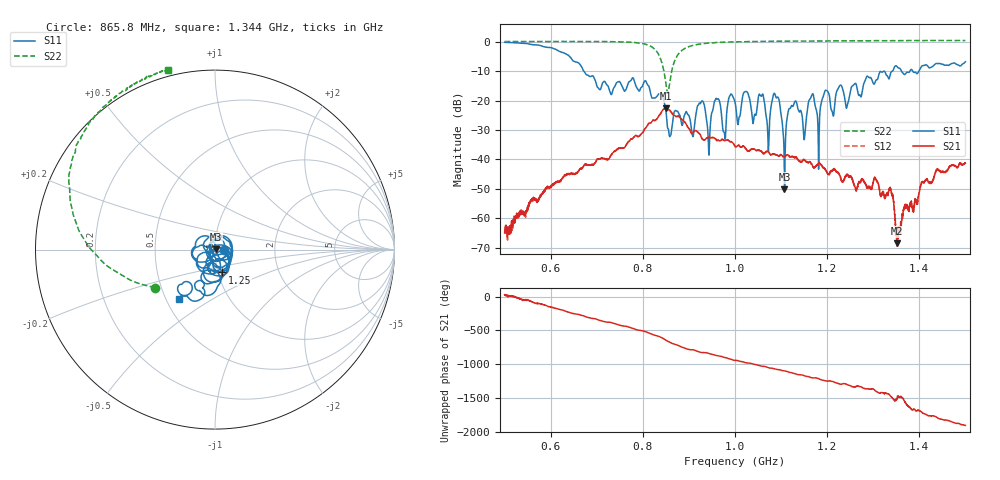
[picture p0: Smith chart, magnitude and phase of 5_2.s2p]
!Keysight Technologies,N5242B,MY48420860,A.13.80.08
!Date: Saturday, September 26, 2020 12:14:28
!Correction: S11(Full 2 Port(1,2))
!S21(Full 2 Port(1,2))
!S12(Full 2 Port(1,2))
!S22(Full 2 Port(1,2))
!S2P File: Measurements: S11, S21, S12, S22:
# Hz S  dB  R 50
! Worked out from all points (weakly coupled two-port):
!   2650 points, 500 MHz to 1.5 GHz, reference 50 ohm
!   highest |S21| = -22.67 dB at 849.9 MHz (marker M1); lowest = -68.4 dB at 1.352 GHz (marker M2)
!   lowest |S11| = -50.1 dB at 1.107 GHz (marker M3), VSWR 1.01, Z = 50.3 + j0.0626 ohm
!   |S11| at or under -10 dB: 671.8 MHz to 1.342 GHz (670 MHz wide, 66.5 % of centre); 1.361 GHz to 1.38 GHz (18.6 MHz wide, 1.36 % of centre); 1.386 GHz to 1.399 GHz (13.36 MHz wide, 0.96 % of centre)
!   |S22| runs from -17.5 to 0.4 dB; largest |S21 - S12| = 0.00043
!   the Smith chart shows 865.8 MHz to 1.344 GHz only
!   S11 on the Smith chart (normalised r, x): 865.8 MHz: 1.11, +0.00; 1.25 GHz: 1.04, -0.27; 1.344 GHz: 0.58, -0.36
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5e8  -0.23 -166.3  -64.97 28.6  -64.78 19.0  0.02 147.7
6.049453e8  -2.30 125.9  -48.56 -162.0  -48.56 -161.3  0.04 139.3
6.668554e8  -8.50 74.5  -43.11 82.4  -43.22 83.0  0.03 133.1
8.337108e8  -17.92 7.7  -25.49 133.9  -25.50 134.0  -4.21 64.4
8.499434e8  -23.24 -59.4  -22.67 76.6  -22.70 76.5  -14.17 0.5
8.657984e8  -25.88 0.5  -24.87 23.5  -24.91 23.4  -8.08 -147.6
1.000189e9  -20.64 -121.2  -35.57 137.8  -35.57 137.4  -0.11 136.1
1.057191e9  -18.57 -153.1  -37.23 53.2  -37.30 53.1  0.06 129.0
1.071536e9  -33.09 163.9  -37.26 32.4  -37.28 32.3  0.08 127.4
1.088901e9  -18.90 171.1  -38.34 7.6  -38.40 7.1  0.10 125.9
1.107399e9  -50.11 11.5  -38.83 -18.6  -38.88 -18.6  0.14 124.1
1.119479e9  -22.68 130.5  -39.08 -39.9  -39.05 -40.2  0.14 122.9
1.150812e9  -32.83 89.1  -40.06 -90.9  -40.16 -90.1  0.18 120.3
1.166667e9  -18.23 -51.4  -41.76 -119.3  -41.54 -119.9  0.18 118.8
1.180257e9  -30.13 -145.3  -41.66 -129.3  -41.71 -129.2  0.20 117.8
1.196867e9  -16.49 -71.6  -43.63 -166.0  -43.57 -167.3  0.20 116.3
1.249717e9  -17.51 -73.2  -45.88 125.2  -45.82 125.4  0.28 112.1
1.333522e9  -12.59 -130.2  -50.82 -1.6  -50.85 0.7  0.33 105.3
1.34447e9  -9.26 -126.2  -54.34 -82.7  -54.51 -79.3  0.31 104.7
1.35202e9  -8.55 -145.4  -68.44 -47.8  -67.97 -49.6  0.29 103.9
1.408267e9  -8.16 -156.8  -47.75 75.7  -47.55 75.0  0.31 99.1
1.5e9  -6.85 169.2  -41.32 -104.1  -41.18 -104.9  0.35 91.2
